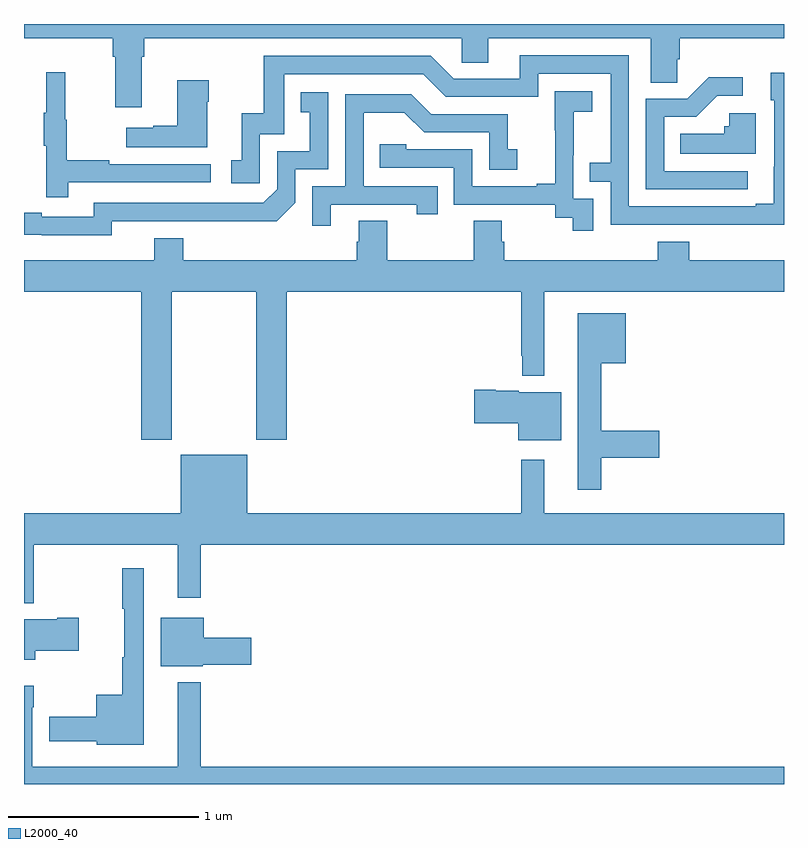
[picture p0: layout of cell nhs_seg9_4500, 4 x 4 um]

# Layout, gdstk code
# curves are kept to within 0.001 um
import gdstk
lib = gdstk.Library(unit=1e-6, precision=1e-09)
def P(c, l, *ps):  # polygons
    for p in ps: c.add(gdstk.Polygon(p, *l))
L2000_40 = (2000, 40)

nhs_seg9_4500 = lib.new_cell('nhs_seg9_4500')
P(nhs_seg9_4500, L2000_40, [(369.619,1192.328),(369.632,1192.328),(369.632,1192.424),(371.304,1192.424),(371.304,1192.297),(371.443,1192.297),(371.443,1192.424),(372.299,1192.424),(372.299,1192.192),(372.438,1192.192),(372.438,1192.315),(372.452,1192.315),(372.452,1192.424),(373,1192.424),(373,1192.5),(369,1192.5),(369,1192.424),(369.467,1192.424),(369.467,1192.328),(369.479,1192.328),(369.479,1192.062),(369.619,1192.062)],
  [(373,1192.243),(372.929,1192.243),(372.929,1192.098),(372.948,1192.098),(372.947,1191.553),(372.851,1191.553),(372.851,1191.54),(372.183,1191.54),(372.183,1192.335),(371.609,1192.335),(371.609,1192.212),(371.262,1192.212),(371.142,1192.332),(370.263,1192.332),(370.263,1192.03),(370.145,1192.03),(370.145,1191.783),(370.092,1191.783),(370.092,1191.663),(370.242,1191.663),(370.242,1191.921),(370.371,1191.921),(370.371,1192.236),(371.1,1192.236),(371.22,1192.116),(371.706,1192.116),(371.706,1192.239),(372.087,1192.239),(372.087,1191.77),(371.977,1191.77),(371.977,1191.669),(372.087,1191.669),(372.087,1191.444),(373,1191.443)],
  [(369.233,1191.666),(369.982,1191.666),(369.982,1191.762),(369.449,1191.762),(369.449,1191.782),(369.226,1191.782),(369.226,1191.996),(369.218,1191.996),(369.218,1192.246),(369.116,1192.246),(369.116,1192.033),(369.105,1192.033),(369.105,1191.859),(369.116,1191.859),(369.116,1191.588),(369.233,1191.588)],
  [(372.808,1191.726),(372.369,1191.726),(372.369,1192.011),(372.538,1192.011),(372.649,1192.122),(372.784,1192.122),(372.784,1192.22),(372.605,1192.22),(372.492,1192.107),(372.273,1192.107),(372.273,1191.63),(372.808,1191.63)],
  [(369.964,1192.091),(369.972,1192.091),(369.972,1192.204),(369.806,1192.204),(369.806,1191.965),(369.68,1191.965),(369.68,1191.955),(369.537,1191.955),(369.537,1191.851),(369.964,1191.851)],
  [(371.997,1191.579),(371.892,1191.579),(371.892,1191.809),(371.894,1191.809),(371.894,1192.037),(371.992,1192.037),(371.992,1192.147),(371.794,1192.147),(371.794,1191.941),(371.795,1191.941),(371.795,1191.658),(371.699,1191.658),(371.699,1191.645),(371.358,1191.645),(371.358,1191.84),(371.013,1191.84),(371.013,1191.867),(370.873,1191.867),(370.873,1191.744),(371.262,1191.744),(371.262,1191.549),(371.796,1191.549),(371.796,1191.481),(371.889,1191.481),(371.889,1191.411),(371.997,1191.411)],
  [(369.462,1191.462),(370.33,1191.461),(370.428,1191.558),(370.428,1191.735),(370.602,1191.735),(370.602,1192.141),(370.456,1192.141),(370.456,1192.035),(370.505,1192.035),(370.505,1191.831),(370.332,1191.831),(370.332,1191.63),(370.26,1191.558),(369.366,1191.558),(369.366,1191.486),(369.094,1191.486),(369.094,1191.506),(369,1191.506),(369,1191.39),(369.462,1191.389)],
  [(370.615,1191.549),(371.066,1191.549),(371.066,1191.498),(371.177,1191.498),(371.177,1191.645),(370.788,1191.645),(370.788,1192.034),(371.002,1192.034),(371.106,1191.93),(371.448,1191.93),(371.448,1191.732),(371.596,1191.732),(371.596,1191.841),(371.547,1191.841),(371.547,1192.026),(371.143,1192.026),(371.038,1192.131),(370.692,1192.131),(370.692,1191.645),(370.518,1191.645),(370.518,1191.438),(370.615,1191.438)],
  [(372.85,1192.03),(372.711,1192.03),(372.711,1191.963),(372.685,1191.963),(372.685,1191.922),(372.454,1191.922),(372.454,1191.818),(372.85,1191.818)],
  [(369.839,1191.373),(369.686,1191.373),(369.686,1191.256),(369,1191.256),(369,1191.092),(369.617,1191.092),(369.617,1190.313),(369.777,1190.313),(369.777,1191.092),(370.222,1191.092),(370.222,1190.313),(370.382,1190.313),(370.382,1191.092),(371.616,1191.092),(371.616,1190.755),(371.623,1190.755),(371.623,1190.648),(371.737,1190.648),(371.737,1191.092),(373,1191.092),(373,1191.256),(372.5,1191.256),(372.5,1191.355),(372.335,1191.355),(372.335,1191.256),(371.528,1191.256),(371.528,1191.354),(371.515,1191.354),(371.515,1191.464),(371.368,1191.464),(371.368,1191.256),(370.911,1191.256),(370.911,1191.464),(370.763,1191.464),(370.763,1191.354),(370.751,1191.354),(370.751,1191.256),(369.839,1191.256)],
  [(372.037,1190.218),(372.343,1190.218),(372.343,1190.36),(372.037,1190.36),(372.037,1190.714),(372.166,1190.714),(372.166,1190.977),(371.915,1190.977),(371.915,1190.049),(372.037,1190.049)],
  [(371.827,1190.563),(371.604,1190.563),(371.604,1190.569),(371.482,1190.569),(371.482,1190.576),(371.37,1190.576),(371.37,1190.398),(371.6,1190.398),(371.6,1190.309),(371.827,1190.309)],
  [(369,1189.451),(369.051,1189.451),(369.051,1189.76),(369.809,1189.76),(369.809,1189.479),(369.931,1189.479),(369.931,1189.76),(373,1189.76),(373,1189.924),(371.737,1189.924),(371.737,1190.206),(371.616,1190.206),(371.616,1189.924),(370.174,1189.924),(370.174,1190.233),(369.824,1190.233),(369.824,1189.924),(369,1189.924)],
  [(369.631,1189.636),(369.517,1189.636),(369.517,1189.423),(369.527,1189.423),(369.527,1189.166),(369.517,1189.166),(369.517,1188.97),(369.38,1188.97),(369.38,1188.855),(369.132,1188.855),(369.132,1188.725),(369.384,1188.725),(369.384,1188.707),(369.631,1188.707)],
  [(369.942,1189.127),(370.195,1189.127),(370.195,1189.269),(369.946,1189.269),(369.946,1189.375),(369.719,1189.375),(369.719,1189.121),(369.942,1189.121)],
  [(369.058,1189.201),(369.289,1189.201),(369.289,1189.374),(369.176,1189.374),(369.176,1189.366),(369,1189.366),(369,1189.154),(369.058,1189.154)],
  [(373,1188.592),(369.931,1188.592),(369.931,1189.036),(369.809,1189.036),(369.809,1188.592),(369.043,1188.592),(369.043,1188.905),(369.051,1188.905),(369.051,1189.018),(369,1189.018),(369,1188.5),(373,1188.5)])

lib.write_gds('nhs_seg9_4500.gds')
